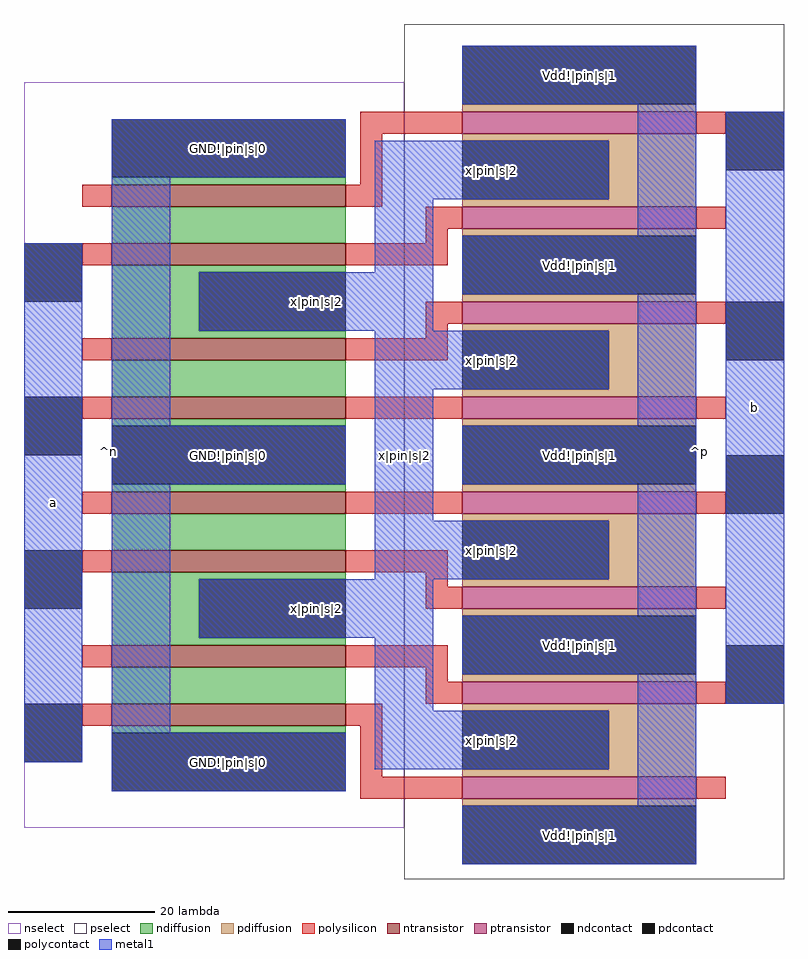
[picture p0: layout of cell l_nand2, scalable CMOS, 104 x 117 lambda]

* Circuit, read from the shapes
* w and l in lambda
.subckt l_nand2 GND!|pin|s|0 Vdd!|pin|s|1 a b x|pin|s|2
M1 n1 a GND!|pin|s|0 VSUBS nfet w=32 l=3
M2 x|pin|s|2 b n1 VSUBS nfet w=32 l=3
M3 n2 a x|pin|s|2 VSUBS nfet w=32 l=3
M4 GND!|pin|s|0 b n2 VSUBS nfet w=32 l=3
M5 n3 a GND!|pin|s|0 VSUBS nfet w=32 l=3
M6 x|pin|s|2 b n3 VSUBS nfet w=32 l=3
M7 n4 a x|pin|s|2 VSUBS nfet w=32 l=3
M8 GND!|pin|s|0 b n4 VSUBS nfet w=32 l=3
M9 x|pin|s|2 a Vdd!|pin|s|1 NWELL pfet w=32 l=3 m=4
M10 Vdd!|pin|s|1 b x|pin|s|2 NWELL pfet w=32 l=3 m=4
.ends

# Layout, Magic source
magic
tech scmos
<< nselect >>
rect -52 557 0 659
<< pselect >>
rect 0 550 52 667
<< ndiffusion >>
rect -40 645 -8 646
rect -40 637 -8 642
rect -40 633 -8 634
rect -40 625 -28 633
rect -40 624 -8 625
rect -40 616 -8 621
rect -40 612 -8 613
rect -40 603 -8 604
rect -40 595 -8 600
rect -40 591 -8 592
rect -40 583 -28 591
rect -40 582 -8 583
rect -40 574 -8 579
rect -40 570 -8 571
<< pdiffusion >>
rect 8 655 40 656
rect 8 651 40 652
rect 28 643 40 651
rect 8 642 40 643
rect 8 638 40 639
rect 8 629 40 630
rect 8 625 40 626
rect 28 617 40 625
rect 8 616 40 617
rect 8 612 40 613
rect 8 603 40 604
rect 8 599 40 600
rect 28 591 40 599
rect 8 590 40 591
rect 8 586 40 587
rect 8 577 40 578
rect 8 573 40 574
rect 28 565 40 573
rect 8 564 40 565
rect 8 560 40 561
<< ntransistor >>
rect -40 642 -8 645
rect -40 634 -8 637
rect -40 621 -8 624
rect -40 613 -8 616
rect -40 600 -8 603
rect -40 592 -8 595
rect -40 579 -8 582
rect -40 571 -8 574
<< ptransistor >>
rect 8 652 40 655
rect 8 639 40 642
rect 8 626 40 629
rect 8 613 40 616
rect 8 600 40 603
rect 8 587 40 590
rect 8 574 40 577
rect 8 561 40 564
<< polysilicon >>
rect -6 652 8 655
rect 40 652 44 655
rect -6 645 -3 652
rect -44 642 -40 645
rect -8 642 -3 645
rect 3 639 8 642
rect 40 639 44 642
rect 3 637 6 639
rect -44 634 -40 637
rect -8 634 6 637
rect 3 626 8 629
rect 40 626 44 629
rect 3 624 6 626
rect -44 621 -40 624
rect -8 621 6 624
rect -44 613 -40 616
rect -8 613 8 616
rect 40 613 44 616
rect -44 600 -40 603
rect -8 600 8 603
rect 40 600 44 603
rect -44 592 -40 595
rect -8 592 6 595
rect 3 590 6 592
rect 3 587 8 590
rect 40 587 44 590
rect -44 579 -40 582
rect -8 579 6 582
rect 3 577 6 579
rect 3 574 8 577
rect 40 574 44 577
rect -44 571 -40 574
rect -8 571 -3 574
rect -6 564 -3 571
rect -6 561 8 564
rect 40 561 44 564
<< ndcontact >>
rect -40 646 -8 654
rect -28 625 -8 633
rect -40 604 -8 612
rect -28 583 -8 591
rect -40 562 -8 570
<< pdcontact >>
rect 8 656 40 664
rect 8 643 28 651
rect 8 630 40 638
rect 8 617 28 625
rect 8 604 40 612
rect 8 591 28 599
rect 8 578 40 586
rect 8 565 28 573
rect 8 552 40 560
<< polycontact >>
rect 44 647 52 655
rect -52 629 -44 637
rect 44 621 52 629
rect -52 608 -44 616
rect 44 600 52 608
rect -52 587 -44 595
rect 44 574 52 582
rect -52 566 -44 574
<< metal1 >>
rect 8 656 40 664
rect -40 646 -8 654
rect -52 566 -44 637
rect -40 612 -32 646
rect -4 643 28 651
rect -4 633 4 643
rect 32 638 40 656
rect -28 625 4 633
rect 8 630 40 638
rect -4 617 28 625
rect -40 604 -8 612
rect -40 570 -32 604
rect -4 599 4 617
rect 32 612 40 630
rect 8 604 40 612
rect -4 591 28 599
rect -28 583 4 591
rect 32 586 40 604
rect -4 573 4 583
rect 8 578 40 586
rect -40 562 -8 570
rect -4 565 28 573
rect 32 560 40 578
rect 44 574 52 655
rect 8 552 40 560
<< labels >>
rlabel metal1 -52 566 -44 637 1 a
rlabel metal1 44 574 52 655 1 b
rlabel space -53 556 -28 661 7 ^n
rlabel space 28 550 53 667 3 ^p
rlabel metal1 -40 562 -8 570 1 GND!|pin|s|0
rlabel metal1 -40 562 -32 654 1 GND!|pin|s|0
rlabel metal1 -40 646 -8 654 1 GND!|pin|s|0
rlabel metal1 8 578 40 586 1 Vdd!|pin|s|1
rlabel metal1 8 630 40 638 1 Vdd!|pin|s|1
rlabel metal1 32 552 40 664 1 Vdd!|pin|s|1
rlabel metal1 -4 565 4 651 1 x|pin|s|2
rlabel metal1 -28 625 4 633 1 x|pin|s|2
rlabel metal1 -28 583 4 591 1 x|pin|s|2
rlabel metal1 -4 643 28 651 1 x|pin|s|2
rlabel metal1 -4 617 28 625 1 x|pin|s|2
rlabel metal1 -4 591 28 599 1 x|pin|s|2
rlabel metal1 -4 565 28 573 1 x|pin|s|2
rlabel metal1 -40 604 -8 612 1 GND!|pin|s|0
rlabel metal1 8 552 40 560 1 Vdd!|pin|s|1
rlabel metal1 8 604 40 612 1 Vdd!|pin|s|1
rlabel metal1 8 656 40 664 1 Vdd!|pin|s|1
<< end >>
